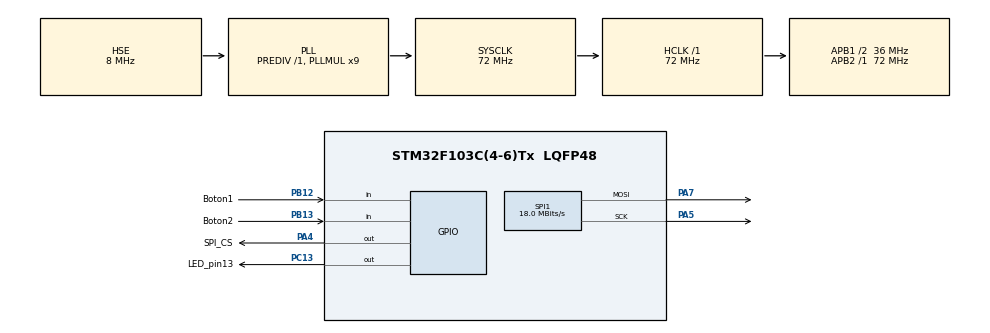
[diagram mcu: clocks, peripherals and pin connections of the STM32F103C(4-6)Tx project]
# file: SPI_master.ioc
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Mcu.Family=STM32F1
Mcu.Name=STM32F103C(4-6)Tx
Mcu.Package=LQFP48
NVIC.PriorityGroup=NVIC_PRIORITYGROUP_4
PA4.GPIO_Label=SPI_CS
PA4.PinState=GPIO_PIN_SET
PA4.Signal=GPIO_Output
PA5.Mode=TX_Only_Simplex_Unidirect_Master
PA5.Signal=SPI1_SCK
PA7.Mode=TX_Only_Simplex_Unidirect_Master
PA7.Signal=SPI1_MOSI
PB12.GPIO_Label=Boton1
PB12.GPIO_PuPd=GPIO_PULLDOWN
PB12.Signal=GPIO_Input
PB13.GPIO_Label=Boton2
PB13.GPIO_PuPd=GPIO_PULLDOWN
PB13.Signal=GPIO_Input
PC13-TAMPER-RTC.GPIO_Label=LED_pin13
PC13-TAMPER-RTC.Signal=GPIO_Output
PD0-OSC_IN.Mode=HSE-External-Oscillator
PD0-OSC_IN.Signal=RCC_OSC_IN
PD1-OSC_OUT.Mode=HSE-External-Oscillator
PD1-OSC_OUT.Signal=RCC_OSC_OUT
ProjectManager.HeapSize=0x200
ProjectManager.StackSize=0x400
ProjectManager.TargetToolchain=STM32CubeIDE
RCC.AHBFreq_Value=72000000
RCC.APB1CLKDivider=RCC_HCLK_DIV2
RCC.APB1Freq_Value=36000000
RCC.APB1TimFreq_Value=72000000
RCC.APB2Freq_Value=72000000
RCC.APB2TimFreq_Value=72000000
RCC.HCLKFreq_Value=72000000
RCC.PLLMUL=RCC_PLL_MUL9
RCC.PLLSourceVirtual=RCC_PLLSOURCE_HSE
RCC.SYSCLKFreq_VALUE=72000000
RCC.SYSCLKSource=RCC_SYSCLKSOURCE_PLLCLK
RCC.USBFreq_Value=72000000
SPI1.BaudRatePrescaler=SPI_BAUDRATEPRESCALER_4
SPI1.CalculateBaudRate=18.0 MBits/s
SPI1.Direction=SPI_DIRECTION_2LINES
SPI1.Mode=SPI_MODE_MASTER
SPI1.VirtualType=VM_MASTER
board=custom

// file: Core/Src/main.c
/* USER CODE BEGIN Header */
/**
  ******************************************************************************
  * @file           : main.c
  * @brief          : Main program body
  ******************************************************************************
  * @attention
  *
  * Copyright (c) 2023 STMicroelectronics.
  * All rights reserved.
  *******************************************************************************
  *El siguiente programa envia datos por medio de protocolo SPI si se preciona un boton
  *Si se acciona un boton 1 conectado en el pin PB12 se envia un 0x01
  *Si se acciona un boton 2 conectado en el pin PB13 se envia un 0x02
  *Ademas cada vez que se envia un valor se enciende el LED sobre la placa
  ******************************************************************************
  *The following program sends data via SPI protocol if a button is pressed
   *If a button 1 connected to pin PB12 is activated, a 0x01 is sent
   *If a button 2 connected to pin PB13 is activated, a 0x02 is sent
   *If In addition, every time a value is sent, the LED on the board lights up.
  ******************************************************************************
  */
/* USER CODE END Header */
#include "main.h"
#include "spi.h"
#include "gpio.h"

/* USER CODE BEGIN PV */
uint8_t dato_tx[1] ;

/* USER CODE END PV */

void SystemClock_Config(void);

int main(void)
{

  /* MCU Configuration--------------------------------------------------------*/

  /* Reset of all peripherals, Initializes the Flash interface and the Systick. */
  HAL_Init();

  /* Configure the system clock */
  SystemClock_Config();

  /* Initialize all configured peripherals */
  MX_GPIO_Init();
  MX_SPI1_Init();
  /* USER CODE BEGIN 2 */
  HAL_GPIO_WritePin(GPIOC, LED_pin13_Pin,GPIO_PIN_SET);
  /* USER CODE END 2 */

  /* Infinite loop */
  /* USER CODE BEGIN WHILE */
  while (1)
  {

 if( HAL_GPIO_ReadPin(Boton1_GPIO_Port, Boton1_Pin) == 1) //Si el boton es precionado
    {
    	HAL_Delay(5); // funcion antirebote
    	while(HAL_GPIO_ReadPin(Boton1_GPIO_Port, Boton1_Pin)==1);
    	HAL_Delay(5);
		HAL_GPIO_WritePin(GPIOC, LED_pin13_Pin,GPIO_PIN_RESET);

    	dato_tx[0] = 0x01 ; //dato a transmitir para el primer LED del esclavo
    		HAL_GPIO_WritePin(SPI_CS_GPIO_Port, SPI_CS_Pin, GPIO_PIN_RESET); //selector de esclavo en esado LOW es seleccionado
    		HAL_SPI_Transmit(&hspi1, dato_tx, 1, HAL_MAX_DELAY); //(SPI utilizado , buffer, tamaño de los datos, tiempo maximo transmision)
    		HAL_GPIO_WritePin(SPI_CS_GPIO_Port, SPI_CS_Pin, GPIO_PIN_SET); // desabilito el esclavo con una señal de HIGH

    		HAL_Delay(100);
    		HAL_GPIO_WritePin(GPIOC, LED_pin13_Pin,GPIO_PIN_SET);//Prendo un LED
    }
    if( HAL_GPIO_ReadPin(Boton2_GPIO_Port, Boton2_Pin) == 1) //Si el boton es precionado
    {
    	HAL_Delay(5); // funcion antirebote
    	while(HAL_GPIO_ReadPin(Boton2_GPIO_Port, Boton2_Pin)==1);
    	HAL_Delay(5);
    	HAL_GPIO_WritePin(GPIOC, LED_pin13_Pin,GPIO_PIN_RESET);

    	dato_tx[0] = 0x02 ; //dato a transmitir para el segundo LED del exclavo
    	    	HAL_GPIO_WritePin(SPI_CS_GPIO_Port, SPI_CS_Pin, GPIO_PIN_RESET); //selector de esclavo en esado LOW es seleccionado
    	    	HAL_SPI_Transmit(&hspi1, dato_tx, 1, HAL_MAX_DELAY); //(SPI utilizado , buffer, tamaño de los datos, tiempo maximo transmision)
    	    	HAL_GPIO_WritePin(SPI_CS_GPIO_Port, SPI_CS_Pin, GPIO_PIN_SET); // desabilito el esclavo con una señal de HIGH

    	    	HAL_Delay(100);
        		HAL_GPIO_WritePin(GPIOC, LED_pin13_Pin,GPIO_PIN_SET);//Prendo un LED

    }
    /* USER CODE END WHILE */

  }
}

void SystemClock_Config(void)
{
  RCC_OscInitTypeDef RCC_OscInitStruct = {0};
  RCC_ClkInitTypeDef RCC_ClkInitStruct = {0};

  /** Initializes the RCC Oscillators according to the specified parameters
  * in the RCC_OscInitTypeDef structure.
  */
  RCC_OscInitStruct.OscillatorType = RCC_OSCILLATORTYPE_HSE;
  RCC_OscInitStruct.HSEState = RCC_HSE_ON;
  RCC_OscInitStruct.HSEPredivValue = RCC_HSE_PREDIV_DIV1;
  RCC_OscInitStruct.HSIState = RCC_HSI_ON;
  RCC_OscInitStruct.PLL.PLLState = RCC_PLL_ON;
  RCC_OscInitStruct.PLL.PLLSource = RCC_PLLSOURCE_HSE;
  RCC_OscInitStruct.PLL.PLLMUL = RCC_PLL_MUL9;
  if (HAL_RCC_OscConfig(&RCC_OscInitStruct) != HAL_OK)
  {
    Error_Handler();
  }

  /** Initializes the CPU, AHB and APB buses clocks
  */
  RCC_ClkInitStruct.ClockType = RCC_CLOCKTYPE_HCLK|RCC_CLOCKTYPE_SYSCLK
                              |RCC_CLOCKTYPE_PCLK1|RCC_CLOCKTYPE_PCLK2;
  RCC_ClkInitStruct.SYSCLKSource = RCC_SYSCLKSOURCE_PLLCLK;
  RCC_ClkInitStruct.AHBCLKDivider = RCC_SYSCLK_DIV1;
  RCC_ClkInitStruct.APB1CLKDivider = RCC_HCLK_DIV2;
  RCC_ClkInitStruct.APB2CLKDivider = RCC_HCLK_DIV1;

  if (HAL_RCC_ClockConfig(&RCC_ClkInitStruct, FLASH_LATENCY_2) != HAL_OK)
  {
    Error_Handler();
  }
}

void Error_Handler(void)
{
  __disable_irq();
  while (1)
  {
  }
}
